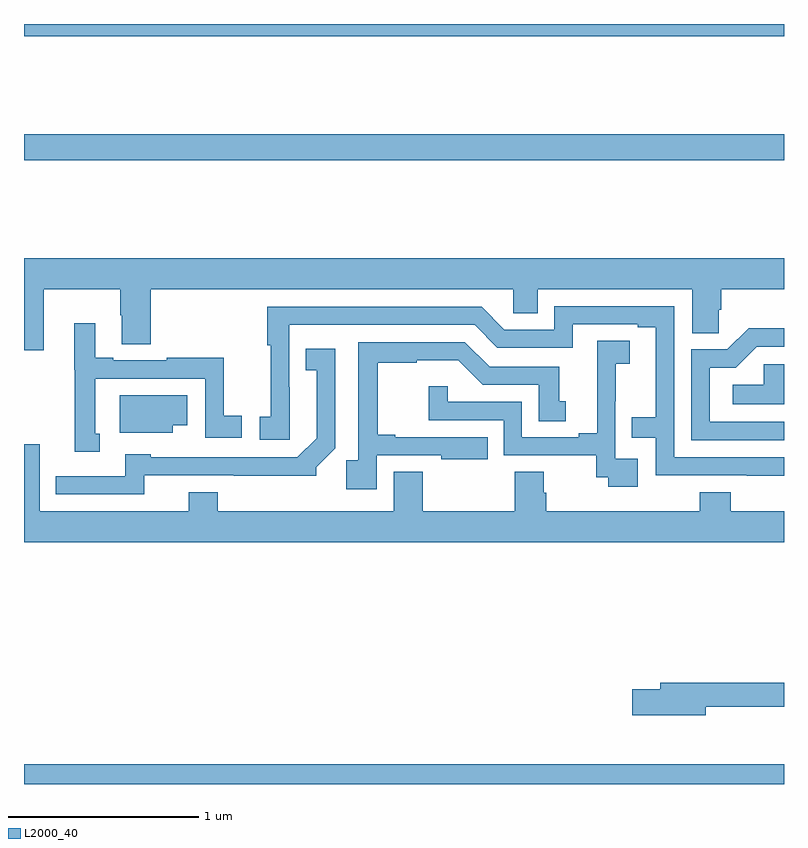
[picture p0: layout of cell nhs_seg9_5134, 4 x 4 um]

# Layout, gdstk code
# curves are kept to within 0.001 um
import gdstk
lib = gdstk.Library(unit=1e-6, precision=1e-09)
def R(c, l, rs):  # rectangles x0, y0, x1, y1
    for r in rs: c.add(gdstk.rectangle(r[:2], r[2:], *l))
def P(c, l, *ps):  # polygons
    for p in ps: c.add(gdstk.Polygon(p, *l))
L2000_40 = (2000, 40)

nhs_seg9_5134 = lib.new_cell('nhs_seg9_5134')
R(nhs_seg9_5134, L2000_40, [(409,1176.5,413,1176.604), (409,1179.784,413,1179.92), (409,1180.436,413,1180.5)])
P(nhs_seg9_5134, L2000_40, [(409.105,1179.104),(409.507,1179.104),(409.507,1178.966),(409.514,1178.966),(409.514,1178.815),(409.667,1178.815),(409.667,1179.104),(411.576,1179.104),(411.576,1178.977),(411.703,1178.977),(411.703,1179.104),(412.517,1179.104),(412.517,1178.872),(412.656,1178.872),(412.656,1178.995),(412.67,1178.995),(412.67,1179.104),(413,1179.104),(413,1179.268),(409,1179.268),(409,1178.784),(409.105,1178.784)],
  [(413,1178.22),(412.422,1178.22),(412.422,1179.015),(411.792,1179.015),(411.792,1178.892),(411.528,1178.892),(411.408,1179.012),(410.281,1179.012),(410.281,1178.809),(410.299,1178.809),(410.299,1178.433),(410.241,1178.433),(410.241,1178.313),(410.398,1178.313),(410.397,1178.916),(411.372,1178.916),(411.492,1178.796),(411.888,1178.796),(411.888,1178.919),(412.229,1178.919),(412.229,1178.904),(412.325,1178.904),(412.325,1178.431),(412.198,1178.431),(412.198,1178.322),(412.326,1178.322),(412.326,1178.124),(413,1178.123)],
  [(409.399,1178.343),(409.375,1178.343),(409.375,1178.634),(409.953,1178.634),(409.953,1178.322),(410.146,1178.322),(410.146,1178.438),(410.052,1178.438),(410.052,1178.743),(409.75,1178.743),(409.75,1178.73),(409.471,1178.73),(409.471,1178.743),(409.375,1178.743),(409.375,1178.926),(409.265,1178.926),(409.265,1178.681),(409.266,1178.681),(409.266,1178.249),(409.399,1178.249)],
  [(413,1178.406),(412.608,1178.406),(412.608,1178.691),(412.746,1178.691),(412.857,1178.802),(413,1178.802),(413,1178.9),(412.814,1178.9),(412.701,1178.787),(412.512,1178.787),(412.512,1178.31),(413,1178.31)],
  [(412.231,1178.211),(412.113,1178.211),(412.113,1178.515),(412.115,1178.515),(412.115,1178.713),(412.189,1178.713),(412.189,1178.834),(412.018,1178.834),(412.018,1178.723),(412.016,1178.723),(412.016,1178.345),(411.92,1178.345),(411.92,1178.325),(411.621,1178.325),(411.621,1178.511),(411.231,1178.511),(411.231,1178.593),(411.13,1178.593),(411.13,1178.415),(411.525,1178.415),(411.525,1178.229),(412.012,1178.229),(412.012,1178.115),(412.075,1178.115),(412.075,1178.064),(412.231,1178.064)],
  [(410.856,1178.229),(411.197,1178.229),(411.197,1178.21),(411.44,1178.21),(411.44,1178.325),(410.953,1178.325),(410.953,1178.338),(410.861,1178.338),(410.861,1178.718),(411.068,1178.718),(411.068,1178.729),(411.286,1178.729),(411.414,1178.601),(411.71,1178.601),(411.71,1178.41),(411.85,1178.41),(411.85,1178.514),(411.817,1178.514),(411.817,1178.697),(411.45,1178.697),(411.321,1178.826),(410.76,1178.826),(410.76,1178.203),(410.695,1178.203),(410.695,1178.052),(410.856,1178.052)],
  [(409.632,1178.124),(410.538,1178.123),(410.538,1178.167),(410.637,1178.266),(410.637,1178.791),(410.482,1178.791),(410.482,1178.678),(410.54,1178.678),(410.54,1178.321),(410.439,1178.22),(409.668,1178.22),(409.668,1178.236),(409.532,1178.236),(409.532,1178.121),(409.168,1178.121),(409.168,1178.025),(409.632,1178.025)],
  [(413,1178.709),(412.893,1178.709),(412.893,1178.602),(412.731,1178.602),(412.731,1178.498),(413,1178.498)],
  [(409.783,1178.387),(409.858,1178.387),(409.858,1178.545),(409.505,1178.545),(409.505,1178.348),(409.783,1178.348)],
  [(413,1177.936),(412.721,1177.936),(412.721,1178.035),(412.556,1178.035),(412.556,1177.936),(411.749,1177.936),(411.749,1178.034),(411.736,1178.034),(411.736,1178.144),(411.584,1178.144),(411.584,1177.936),(411.098,1177.936),(411.098,1178.144),(410.945,1178.144),(410.945,1177.936),(410.021,1177.936),(410.021,1178.035),(409.868,1178.035),(409.868,1177.936),(409.083,1177.936),(409.083,1178.287),(409,1178.287),(409,1177.772),(413,1177.772)],
  [(412.588,1176.906),(413,1176.906),(413,1177.034),(412.349,1177.034),(412.349,1176.998),(412.2,1176.998),(412.2,1176.863),(412.588,1176.863)])

lib.write_gds('nhs_seg9_5134.gds')
